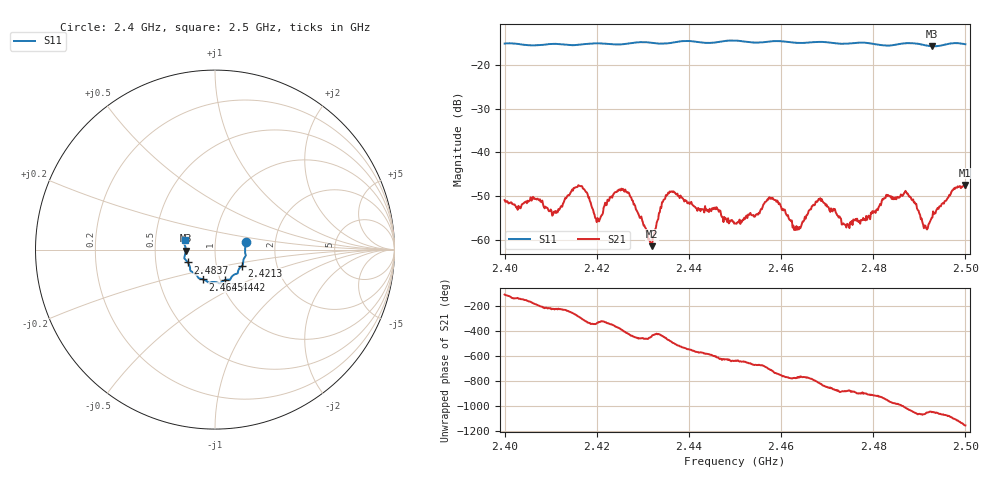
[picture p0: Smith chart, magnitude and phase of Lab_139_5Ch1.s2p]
# Hz S RI R 50
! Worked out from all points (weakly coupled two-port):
!   601 points, 2.4 GHz to 2.5 GHz, reference 50 ohm
!   highest |S21| = -47.50 dB at 2.4998 GHz (marker M1); lowest = -61.5 dB at 2.432 GHz (marker M2)
!   lowest |S11| = -15.7 dB at 2.4928 GHz (marker M3), VSWR 1.39, Z = 35.9 - j0.379 ohm
!   |S11| at or under -10 dB: start of sweep to end of sweep
!   S12 and S22 are empty: the file has one direction only
!   S11 on the Smith chart (normalised r, x): 2.4 GHz: 1.41, +0.12; 2.4213 GHz: 1.33, -0.25; 2.4442 GHz: 1.05, -0.37; 2.4645 GHz: 0.83, -0.29; 2.4837 GHz: 0.73, -0.11; 2.5 GHz: 0.71, +0.07
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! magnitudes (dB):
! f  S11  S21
! 2.4 GHz  -15.1  -50.9
! 2.4108 GHz  -15.1  -53.8
! 2.4167 GHz  -15.3  -47.7
! 2.42 GHz  -15.0  -56.0
! 2.4213 GHz  -15.1  -53.9
! 2.4265 GHz  -15.1  -49.1
! 2.432 GHz  -14.9  -61.5
! 2.4333 GHz  -15.1  -55.3
! 2.4363 GHz  -14.9  -48.9
! 2.4442 GHz  -15.0  -53.2
! 2.45 GHz  -14.4  -56.3
! 2.4578 GHz  -14.6  -50.4
! 2.4645 GHz  -15.0  -56.4
! 2.4667 GHz  -14.8  -52.4
! 2.4743 GHz  -15.1  -56.4
! 2.4833 GHz  -15.6  -49.9
! 2.4837 GHz  -15.5  -50.1
! 2.4875 GHz  -15.0  -49.5
! 2.4913 GHz  -15.5  -56.8
! 2.4928 GHz  -15.7  -54.9
! 2.4998 GHz  -15.2  -47.5
! 2.5 GHz  -15.3  -48.1
